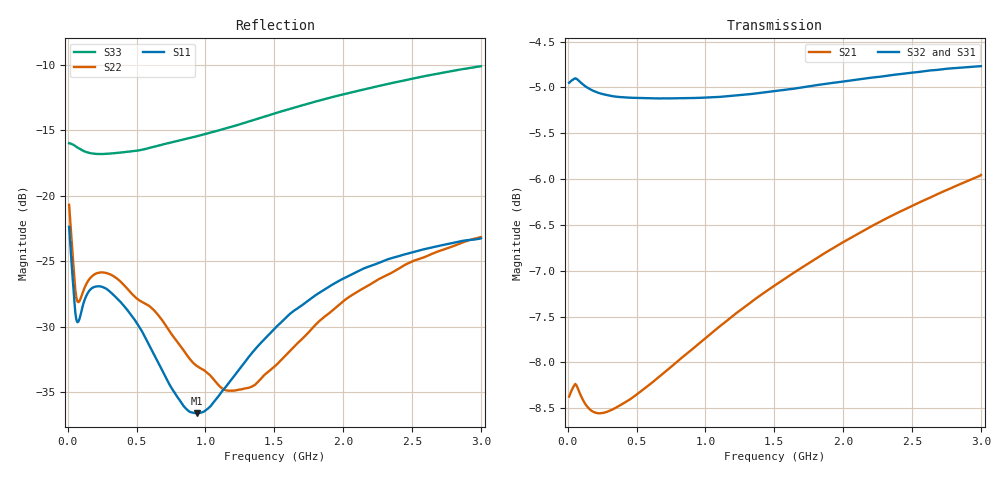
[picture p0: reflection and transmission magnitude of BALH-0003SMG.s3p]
! MARKI MICROWAVE INC.
! Email:  info@markimicrowave.com  Phone:  408-778-4200
! Model Number:  BALH-0003SMG  Date:  06/13
! Filename:		BALH-0003SMG.S3P  Version: 1.0
! Description:  3-port S-parameter data for Balun BALH-0003SMG
! Frequency Range: 	10 MHz to 3 GHz
! Port Configuration:	PORT 1: OUTPUT (0 DEGREE), PORT 2: OUTPUT (180 DEGREE), PORT 3:COMMON
! S3P File: Measurements: Mag<S11> Ang<S11> Mag<S12> Ang<S12> Mag<S13> Ang<S13>! row 1
!  Mag<S21> Ang<S21> Mag<S22> Ang<S22> Mag<S23> Ang<S23>! row 2
!  Mag<S31> Ang<S31> Mag<S32> Ang<S32> Mag<S33> Ang<S33>! row 3
# Hz S  dB  R 50
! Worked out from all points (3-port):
!   401 points, 10 MHz to 3 GHz, reference 50 ohm
!   strongest paths, dB at 10 MHz, 758.8 MHz, 1.508 GHz, 2.256 GHz, 3 GHz:
!     S32: -4.9, -5.1, -5.0, -4.9, -4.8
!     S31: -4.8, -5.0, -5.0, -5.0, -5.1
!     S21: -8.4, -8.0, -7.2, -6.5, -6.0
!   lowest |S11| = -36.6 dB at 938.5 MHz (marker M1), VSWR 1.03, Z = 48.6 + j0.517 ohm
!   |S11| at or under -10 dB: start of sweep to end of sweep
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1e7  -22.37 121.9  -8.37 7.0  -4.78 -0.8
     -8.37 6.8  -20.69 121.8  -4.95 -179.5
     -4.78 0.4  -4.95 -178.0  -16.00 18.1
7.73875e7  -29.59 167.9  -8.31 -5.1  -4.84 -7.2
           -8.30 -5.1  -28.12 159.6  -4.93 173.0
           -4.83 -7.3  -4.92 172.9  -16.37 -8.5
2.94525e8  -27.20 156.7  -8.54 -19.8  -4.98 -26.7
           -8.53 -19.7  -25.94 141.6  -5.09 153.1
           -4.98 -26.6  -5.09 153.1  -16.79 -36.1
9.3845e8  -36.59 159.0  -7.81 -64.0  -5.03 -83.4
          -7.81 -64.0  -32.98 36.5  -5.11 96.0
          -5.03 -83.3  -5.11 96.0  -15.46 -108.8
1.185538e9  -34.07 -178.2  -7.51 -82.3  -5.03 -105.2
            -7.51 -82.3  -34.86 -14.3  -5.09 74.0
            -5.03 -105.1  -5.09 74.0  -14.76 -136.2
1.5075e9  -30.07 -179.8  -7.16 -106.8  -5.03 -133.6
          -7.16 -106.7  -32.98 -80.3  -5.04 45.4
          -5.03 -133.6  -5.04 45.4  -13.71 -170.8
1.8669e9  -27.13 163.9  -6.81 -134.6  -5.02 -165.5
          -6.81 -134.5  -29.20 -130.3  -4.96 13.2
          -5.01 -165.5  -4.96 13.3  -12.64 152.1
2.211325e9  -25.31 144.3  -6.52 -161.5  -5.02 163.8
            -6.51 -161.5  -26.66 -165.4  -4.89 -17.7
            -5.02 163.9  -4.89 -17.7  -11.75 117.4
2.638112e9  -23.96 118.2  -6.20 164.7  -5.03 125.7
            -6.20 164.7  -24.46 156.0  -4.81 -56.2
            -5.03 125.7  -4.81 -56.2  -10.79 75.6
3e9  -23.25 92.6  -5.96 135.5  -5.07 92.8
     -5.96 135.5  -23.15 123.2  -4.77 -89.4
     -5.07 92.9  -4.77 -89.4  -10.13 40.6
